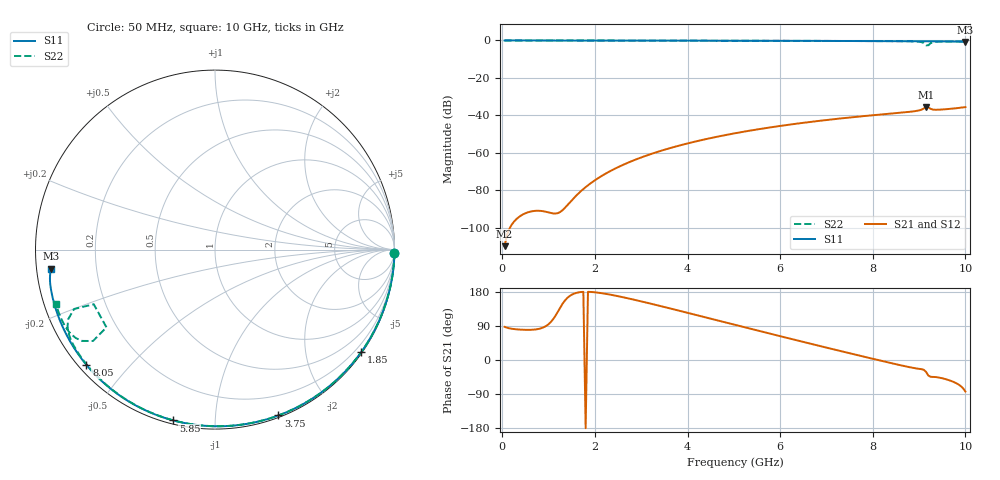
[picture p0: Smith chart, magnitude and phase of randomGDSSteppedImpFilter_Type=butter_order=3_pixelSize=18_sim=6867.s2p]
! freq	dB(S11)	phase(S11)	dB(S12)	phase(S12)
!  dB(S21)	phase(S21)	dB(S22)	phase(S22)
!S-par simulation data
#  GHz  S  DB  R 50
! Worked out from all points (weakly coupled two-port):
!   200 points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, 50 MHz to 10 GHz, reference 50 ohm
!   highest |S21| = -35.58 dB at 9.15 GHz (marker M1); lowest = -109.9 dB at 50 MHz (marker M2)
!   lowest |S11| = -0.7 dB at 10 GHz (marker M3), VSWR 23.37, Z = 2.15 - j2.9 ohm
!   |S11| at or under -10 dB: nowhere
!   |S22| runs from -2.6 to 0.0 dB; largest |S21 - S12| = 0
!   S11 on the Smith chart (normalised r, x): 50 MHz: open; 1.85 GHz: 0.03, -3.16; 3.75 GHz: 0.02, -1.45; 5.85 GHz: 0.02, -0.78; 8.05 GHz: 0.02, -0.38; 10 GHz: 0.04, -0.06
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0.05  -0.00 -1.0  -109.93 87.4  -109.93 87.4  -0.00 -0.9
0.85  -0.02 -16.3  -91.13 84.3  -91.13 84.3  -0.02 -15.9
1.7  -0.04 -32.3  -80.48 179.4  -80.48 179.4  -0.04 -31.5
1.75  -0.04 -33.3  -79.40 179.9  -79.40 179.9  -0.04 -32.5
1.85  -0.04 -35.1  -77.39 180.0  -77.39 180.0  -0.04 -34.3
2.15  -0.05 -40.6  -72.33 176.3  -72.33 176.3  -0.05 -39.7
2.5  -0.06 -47.0  -67.70 168.4  -67.70 168.4  -0.06 -45.9
3.4  -0.08 -63.0  -59.16 142.9  -59.16 142.9  -0.08 -61.5
3.75  -0.09 -69.1  -56.64 132.2  -56.64 132.2  -0.09 -67.4
5.05  -0.14 -90.9  -49.48 92.0  -49.48 92.0  -0.14 -88.6
5.85  -0.18 -103.7  -46.22 67.4  -46.22 67.4  -0.17 -101.1
6.7  -0.23 -117.1  -43.39 41.6  -43.39 41.6  -0.22 -114.0
8.05  -0.33 -138.1  -39.84 1.7  -39.84 1.7  -0.33 -134.3
8.35  -0.36 -142.8  -39.16 -6.9  -39.16 -6.9  -0.36 -139.0
9  -0.43 -153.2  -37.39 -23.3  -37.39 -23.3  -0.67 -152.5
9.1  -0.44 -154.9  -36.41 -25.7  -36.41 -25.7  -1.39 -157.1
9.15  -0.45 -155.7  -35.58 -31.3  -35.58 -31.3  -2.60 -155.7
9.2  -0.45 -156.6  -35.75 -41.1  -35.75 -41.1  -2.57 -144.4
9.25  -0.46 -157.4  -36.56 -44.4  -36.56 -44.4  -1.42 -143.2
9.35  -0.47 -159.1  -37.04 -44.9  -37.04 -44.9  -0.74 -147.6
9.45  -0.49 -160.9  -36.97 -46.8  -36.97 -46.8  -0.60 -150.7
10  -0.74 -173.4  -35.61 -83.2  -35.61 -83.2  -0.57 -161.1
